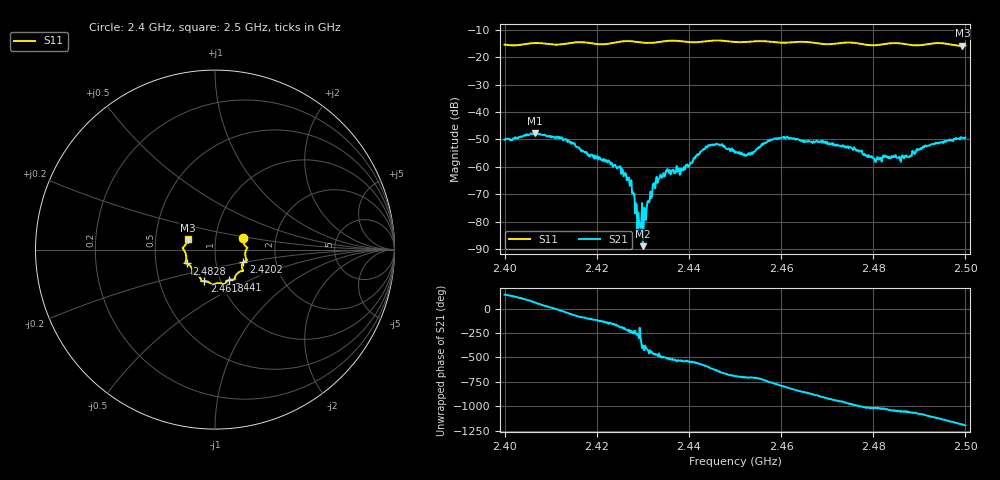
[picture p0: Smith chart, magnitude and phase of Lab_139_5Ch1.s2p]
# Hz S RI R 50
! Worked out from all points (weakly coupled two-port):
!   601 points, 2.4 GHz to 2.5 GHz, reference 50 ohm
!   highest |S21| = -47.71 dB at 2.4065 GHz (marker M1); lowest = -88.9 dB at 2.43 GHz (marker M2)
!   lowest |S11| = -15.8 dB at 2.4993 GHz (marker M3), VSWR 1.38, Z = 36.6 + j3.85 ohm
!   |S11| at or under -10 dB: start of sweep to end of sweep
!   S12 and S22 are empty: the file has one direction only
!   S11 on the Smith chart (normalised r, x): 2.4 GHz: 1.36, +0.18; 2.4202 GHz: 1.36, -0.20; 2.441 GHz: 1.10, -0.39; 2.4618 GHz: 0.84, -0.30; 2.4828 GHz: 0.72, -0.12; 2.5 GHz: 0.73, +0.09
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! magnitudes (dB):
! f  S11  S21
! 2.4 GHz  -15.4  -50.1
! 2.4065 GHz  -14.9  -47.7
! 2.412 GHz  -15.4  -49.6
! 2.4167 GHz  -14.5  -54.4
! 2.4202 GHz  -15.2  -56.1
! 2.4252 GHz  -14.3  -59.8
! 2.4272 GHz  -14.2  -66.9
! 2.4292 GHz  -14.5  -79.7
! 2.43 GHz  -14.7  -88.9
! 2.4333 GHz  -14.5  -64.6
! 2.441 GHz  -14.6  -56.9
! 2.4447 GHz  -14.0  -52.1
! 2.45 GHz  -14.5  -54.9
! 2.4528 GHz  -14.4  -55.5
! 2.4582 GHz  -14.4  -49.9
! 2.4618 GHz  -14.6  -49.6
! 2.4667 GHz  -14.6  -50.8
! 2.4803 GHz  -15.7  -57.4
! 2.4828 GHz  -15.1  -56.0
! 2.4833 GHz  -15.0  -56.8
! 2.4993 GHz  -15.8  -49.4
! 2.5 GHz  -15.7  -49.3
